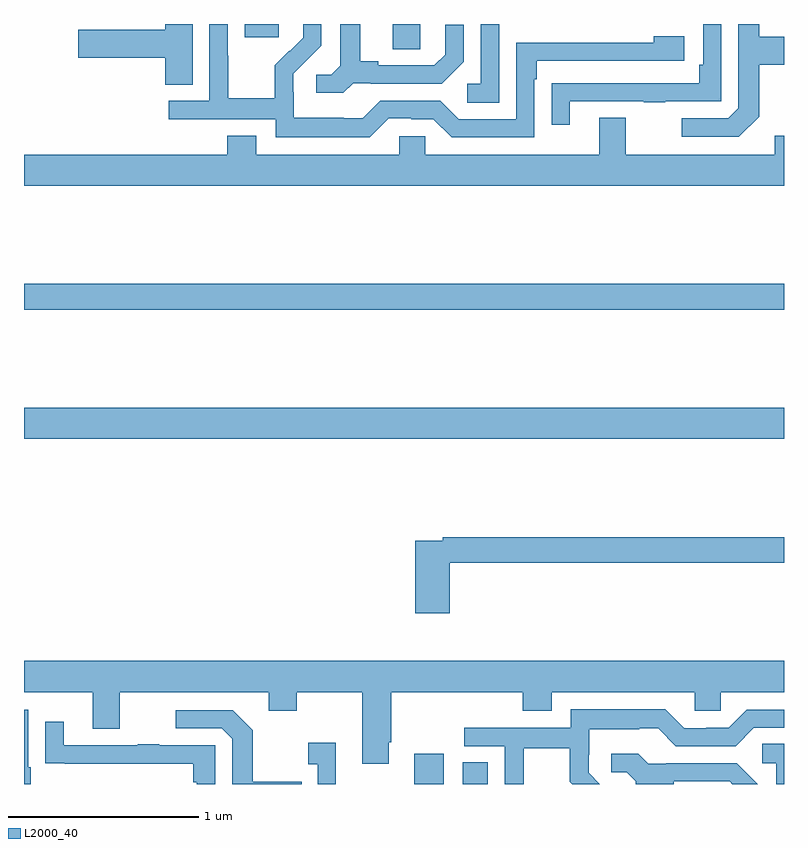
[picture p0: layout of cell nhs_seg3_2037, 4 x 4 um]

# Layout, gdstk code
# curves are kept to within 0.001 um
import gdstk
lib = gdstk.Library(unit=1e-6, precision=1e-09)
def R(c, l, rs):  # rectangles x0, y0, x1, y1
    for r in rs: c.add(gdstk.rectangle(r[:2], r[2:], *l))
def P(c, l, *ps):  # polygons
    for p in ps: c.add(gdstk.Polygon(p, *l))
L2000_40 = (2000, 40)

nhs_seg3_2037 = lib.new_cell('nhs_seg3_2037')
R(nhs_seg3_2037, L2000_40, [(217.055,732.4,217.21,732.559), (217.31,732.4,217.441,732.515), (215,734.216,219,734.38), (215,734.896,219,735.032), (216.941,736.267,217.086,736.4), (216.161,736.329,216.34,736.4)])
P(nhs_seg3_2037, L2000_40, [(216.732,736.089),(216.826,736.089),(216.826,736.086),(217.198,736.086),(217.314,736.202),(217.314,736.396),(217.217,736.396),(217.217,736.239),(217.16,736.182),(216.865,736.182),(216.865,736.205),(216.769,736.205),(216.769,736.4),(216.665,736.4),(216.665,736.181),(216.618,736.134),(216.537,736.134),(216.537,736.037),(216.68,736.037)],
  [(218.869,735.913),(218.869,736.186),(219,736.186),(219,736.333),(218.869,736.333),(218.869,736.4),(218.76,736.4),(218.76,735.957),(218.706,735.903),(218.463,735.903),(218.463,735.807),(218.763,735.807)],
  [(216.921,735.903),(217.037,735.903),(217.037,735.9),(217.155,735.9),(217.251,735.804),(217.686,735.804),(217.686,736.109),(217.699,736.109),(217.699,736.206),(218.476,736.206),(218.476,736.336),(218.315,736.336),(218.315,736.302),(217.59,736.302),(217.59,735.9),(217.287,735.9),(217.191,735.996),(216.876,735.996),(216.783,735.903),(216.683,735.903),(216.683,735.907),(216.42,735.907),(216.42,736.041),(216.418,736.041),(216.418,736.138),(216.564,736.286),(216.564,736.4),(216.47,736.4),(216.47,736.328),(216.399,736.257),(216.396,736.26),(216.319,736.183),(216.319,736.009),(216.075,736.009),(216.075,736.232),(216.072,736.232),(216.072,736.4),(215.976,736.4),(215.976,735.996),(215.763,735.996),(215.763,735.9),(216.324,735.9),(216.324,735.803),(216.821,735.803)],
  [(217.873,735.993),(218.263,735.993),(218.263,735.988),(218.375,735.988),(218.375,735.993),(218.67,735.993),(218.67,736.4),(218.574,736.4),(218.574,736.186),(218.554,736.186),(218.554,736.089),(217.879,736.089),(217.879,736.088),(217.777,736.088),(217.777,735.87),(217.873,735.87)],
  [(217.5,736.4),(217.404,736.4),(217.404,736.086),(217.332,736.086),(217.332,735.985),(217.5,735.985)],
  [(215.887,736.4),(215.744,736.4),(215.744,736.37),(215.286,736.37),(215.286,736.223),(215.744,736.223),(215.744,736.081),(215.887,736.081)],
  [(219,735.811),(218.951,735.811),(218.951,735.712),(218.167,735.712),(218.167,735.907),(218.027,735.907),(218.027,735.712),(217.113,735.712),(217.113,735.81),(216.975,735.81),(216.975,735.712),(216.223,735.712),(216.223,735.811),(216.071,735.811),(216.071,735.712),(215,735.712),(215,735.548),(219,735.548)],
  [(217.241,733.564),(219,733.564),(219,733.7),(217.204,733.7),(217.204,733.68),(217.058,733.68),(217.058,733.299),(217.241,733.299)],
  [(216.919,732.619),(216.932,732.619),(216.932,732.884),(217.625,732.884),(217.625,732.785),(217.777,732.785),(217.777,732.884),(218.529,732.884),(218.529,732.786),(218.667,732.786),(218.667,732.884),(219,732.884),(219,733.048),(215,733.048),(215,732.884),(215.363,732.884),(215.363,732.69),(215.503,732.69),(215.503,732.884),(216.287,732.884),(216.287,732.785),(216.435,732.785),(216.435,732.884),(216.779,732.884),(216.779,732.507),(216.919,732.507)],
  [(217.629,732.588),(217.873,732.588),(217.873,732.413),(217.886,732.4),(218.03,732.4),(217.972,732.458),(217.972,732.555),(217.974,732.555),(217.974,732.689),(218.237,732.689),(218.237,732.693),(218.337,732.693),(218.43,732.6),(218.745,732.6),(218.841,732.696),(219,732.696),(219,732.792),(218.805,732.792),(218.709,732.696),(218.591,732.696),(218.591,732.693),(218.475,732.693),(218.375,732.793),(217.878,732.793),(217.878,732.696),(217.317,732.696),(217.317,732.6),(217.53,732.6),(217.53,732.4),(217.629,732.4)],
  [(215.035,732.487),(215.022,732.487),(215.022,732.792),(215,732.792),(215,732.4),(215.035,732.4)],
  [(216.461,732.411),(216.205,732.411),(216.205,732.683),(216.099,732.789),(215.799,732.789),(215.799,732.693),(216.042,732.693),(216.096,732.639),(216.096,732.4),(216.461,732.4)],
  [(216.006,732.603),(215.711,732.603),(215.711,732.608),(215.599,732.608),(215.599,732.603),(215.209,732.603),(215.209,732.727),(215.113,732.727),(215.113,732.508),(215.215,732.508),(215.215,732.507),(215.89,732.507),(215.89,732.41),(215.91,732.41),(215.91,732.4),(216.006,732.4)],
  [(216.642,732.616),(216.495,732.616),(216.495,732.503),(216.546,732.503),(216.546,732.4),(216.642,732.4)],
  [(219,732.611),(218.886,732.611),(218.886,732.51),(218.958,732.51),(218.958,732.4),(219,732.4)],
  [(218.419,732.414),(218.714,732.414),(218.728,732.4),(218.862,732.4),(218.752,732.51),(218.38,732.51),(218.38,732.507),(218.286,732.507),(218.234,732.559),(218.091,732.559),(218.091,732.462),(218.172,732.462),(218.219,732.415),(218.219,732.4),(218.419,732.4)])

lib.write_gds('nhs_seg3_2037.gds')
